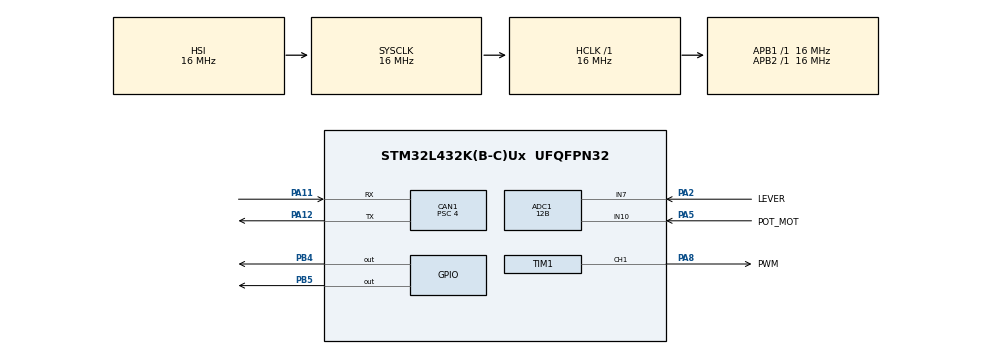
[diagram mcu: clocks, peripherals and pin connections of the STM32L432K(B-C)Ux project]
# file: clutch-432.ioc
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ADC1.Channel-0\#ChannelRegularConversion=ADC_CHANNEL_7
ADC1.Channel-1\#ChannelRegularConversion=ADC_CHANNEL_10
ADC1.ClockPrescaler=ADC_CLOCK_ASYNC_DIV16
ADC1.ContinuousConvMode=ENABLE
ADC1.DMAContinuousRequests=ENABLE
ADC1.DiscontinuousConvMode=DISABLE
ADC1.NbrOfConversion=2
ADC1.NbrOfConversionFlag=1
ADC1.OffsetNumber-0\#ChannelRegularConversion=ADC_OFFSET_NONE
ADC1.OffsetNumber-1\#ChannelRegularConversion=ADC_OFFSET_NONE
ADC1.Rank-0\#ChannelRegularConversion=1
ADC1.Rank-1\#ChannelRegularConversion=2
ADC1.Resolution=ADC_RESOLUTION_12B
ADC1.SamplingTime-0\#ChannelRegularConversion=ADC_SAMPLETIME_92CYCLES_5
ADC1.SamplingTime-1\#ChannelRegularConversion=ADC_SAMPLETIME_92CYCLES_5
ADC1.master=1
CAN1.BS1=CAN_BS1_2TQ
CAN1.CalculateBaudRate=1000000
CAN1.CalculateTimeBit=1000
CAN1.CalculateTimeQuantum=250.0
CAN1.Prescaler=4
Dma.ADC1.0.Direction=DMA_PERIPH_TO_MEMORY
Dma.ADC1.0.Instance=DMA1_Channel1
Dma.ADC1.0.MemDataAlignment=DMA_MDATAALIGN_HALFWORD
Dma.ADC1.0.MemInc=DMA_MINC_ENABLE
Dma.ADC1.0.Mode=DMA_CIRCULAR
Dma.ADC1.0.PeriphDataAlignment=DMA_PDATAALIGN_HALFWORD
Dma.ADC1.0.PeriphInc=DMA_PINC_DISABLE
Dma.ADC1.0.Priority=DMA_PRIORITY_LOW
Dma.Request0=ADC1
Mcu.Family=STM32L4
Mcu.Name=STM32L432K(B-C)Ux
Mcu.Package=UFQFPN32
NVIC.DMA1_Channel1_IRQn=true\:0\:0\:false\:false\:true\:false\:true\:true
NVIC.PriorityGroup=NVIC_PRIORITYGROUP_4
NVIC.TIM1_BRK_TIM15_IRQn=true\:0\:0\:false\:false\:true\:true\:true\:true
NVIC.TIM1_UP_TIM16_IRQn=true\:0\:0\:false\:false\:true\:true\:true\:true
NVIC.TIM7_IRQn=true\:0\:0\:false\:false\:true\:true\:true\:true
PA0.Mode=HSE-External-Clock-Source-for-LittleOrca
PA0.Signal=RCC_CK_IN
PA11.Mode=CAN_Activate
PA11.Signal=CAN1_RX
PA12.Mode=CAN_Activate
PA12.Signal=CAN1_TX
PA2.GPIO_Label=LEVER
PA2.Signal=ADCx_IN7
PA5.GPIO_Label=POT_MOT
PA5.Signal=ADCx_IN10
PA8.GPIO_Label=PWM
PA8.Signal=S_TIM1_CH1
PB4\ (NJTRST).Signal=GPIO_Output
PB5.Signal=GPIO_Output
ProjectManager.HeapSize=0x200
ProjectManager.StackSize=0x400
ProjectManager.TargetToolchain=STM32CubeIDE
RCC.ADCFreq_Value=32000000
RCC.AHBFreq_Value=16000000
RCC.APB1Freq_Value=16000000
RCC.APB1TimFreq_Value=16000000
RCC.APB2Freq_Value=16000000
RCC.APB2TimFreq_Value=16000000
RCC.CortexFreq_Value=16000000
RCC.HCLKFreq_Value=16000000
RCC.HSE_VALUE=8000000
RCC.HSI48_VALUE=48000000
RCC.HSI_VALUE=16000000
RCC.LSE_VALUE=32768
RCC.MSI_VALUE=4000000
RCC.PLLSAI1N=16
RCC.PLLSAI1R=RCC_PLLR_DIV8
RCC.PLLSourceVirtual=RCC_PLLSOURCE_HSI
RCC.SYSCLKFreq_VALUE=16000000
RCC.SYSCLKSource=RCC_SYSCLKSOURCE_HSI
RCC.USBFreq_Value=128000000
RCC.VCOOutputFreq_Value=128000000
SH.ADCx_IN10.0=ADC1_IN10,IN10-Single-Ended
SH.ADCx_IN7.0=ADC1_IN7,IN7-Single-Ended
SH.S_TIM1_CH1.0=TIM1_CH1,PWM Generation1 CH1
TIM1.Channel-PWM\ Generation1\ CH1=TIM_CHANNEL_1
TIM1.Period=100-1
TIM1.Prescaler=20-1
TIM1.Pulse-PWM\ Generation1\ CH1=50
TIM7.Period=10 - 1
TIM7.Prescaler=100 - 1
VP_TIM1_VS_ClockSourceINT.Mode=Internal
VP_TIM7_VS_ClockSourceINT.Mode=Enable_Timer
board=custom

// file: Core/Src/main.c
/* USER CODE BEGIN Header */
/**
  ******************************************************************************
  * @file           : main.c
  * @brief          : Main program body
  ******************************************************************************
  * @attention
  *
  * Copyright (c) 2022 STMicroelectronics.
  * All rights reserved.
  *
  * This software is licensed under terms that can be found in the LICENSE file
  * in the root directory of this software component.
  * If no LICENSE file comes with this software, it is provided AS-IS.
  *
  ******************************************************************************
  */
/* USER CODE END Header */
#include "main.h"

/* USER CODE BEGIN Includes */
#include <stdbool.h>
#include "mmr_can.h"
/* USER CODE END Includes */

/* USER CODE BEGIN PD */
#define POT 1
#define LEVER 0
#define CURRENT 2
/* USER CODE END PD */

 ADC_HandleTypeDef hadc1;
DMA_HandleTypeDef hdma_adc1;

CAN_HandleTypeDef hcan1;

TIM_HandleTypeDef htim1;
TIM_HandleTypeDef htim7;

void SystemClock_Config(void);
static void MX_GPIO_Init(void);
static void MX_DMA_Init(void);
static void MX_ADC1_Init(void);
static void MX_TIM1_Init(void);
static void MX_TIM7_Init(void);
static void MX_CAN1_Init(void);

/* USER CODE BEGIN 0 */
float lever;
float potMot;
float errorPos;
int delay;
int tick;

bool engage = false;
DrivingMode mode = MANUAL;
ErrorState state = OK;
//PID POSIZIONE
const PIDSaturation saturations1 = {
		min: -0.8f,
		max: 0.8f,
};

const PIDParameters parameters1 = {
	p: 7.53f * 3.0f * 3.0f,
	i: 8.6f * 3.0f * 6.0f,
	d: 1.4f * 1.5f,
};

PID pid1;

const float sampleTime = 1.0f / 80000.0f;
const float tau = 1.0f/14565.0f;

//CLUTCH
const ClutchIndexes indexes = {
	motorPotentiometer: POT,
	lever: LEVER,
	current: CURRENT,
};

Clutch clutch;
int s;
// ADC arrays
AdcValue ADC_values[BUFFER_LENGTH];
/* USER CODE END 0 */

int main(void)
{
  /* USER CODE BEGIN 1 */
	lever = 0;
	potMot = 0;
	errorPos = 0;
	tick = 0;
  /* USER CODE END 1 */

  /* MCU Configuration--------------------------------------------------------*/

  /* Reset of all peripherals, Initializes the Flash interface and the Systick. */
  HAL_Init();

  /* Configure the system clock */
  SystemClock_Config();

  /* Initialize all configured peripherals */
  MX_GPIO_Init();
  MX_DMA_Init();
  MX_ADC1_Init();
  MX_TIM1_Init();
  MX_TIM7_Init();
  MX_CAN1_Init();
  /* USER CODE BEGIN 2 */

  if (MMR_CAN_BasicSetupAndStart(&hcan1) != HAL_OK) {
    Error_Handler();
  }

  pid1 = PIDInit(
	  saturations1,
	  parameters1,
	  sampleTime,
	  tau
  );

  ClutchPID clutchPID = {
	  pid1: &pid1,
  };

  clutch = clutchInit(indexes, clutchPID, ADC_values);
  setDrivingMode(&clutch, mode);

  HAL_ADC_Start_DMA(&hadc1, (uint16_t *)ADC_values, BUFFER_LENGTH);

  HAL_TIM_Base_Start(&htim1); // TIM1 Start
  HAL_TIM_PWM_Start(&htim1, TIM_CHANNEL_1); // PWM Start on TIM1
  HAL_TIM_Base_Start_IT(&htim7); // PID Sampling timer start

  CanRxBuffer buffer = {};
  MmrCanMessage message = {
		  .store = buffer
  };
  uint32_t start = uwTick;

  //HAL_GPIO_WritePin(GPIOB, GPIO_PIN_1, GPIO_PIN_SET);
  /* USER CODE END 2 */

  /* Infinite loop */
  /* USER CODE BEGIN WHILE */
  while (1)
  {
	  /*uint8_t pendingMessages = HAL_CAN_GetRxFifoFillLevel(&hcan1, MMR_CAN_RX_FIFO);

	  if (pendingMessages <= 0) {
		  continue;
	  }

	  if (MMR_CAN_Receive(&hcan1, &message) != HAL_OK) {
		  ;
	  }

	  volatile int id = message.header.messageId;

	  continue;*/
    /* USER CODE END WHILE */

    /* USER CODE BEGIN 3 */

	  MmrCanPacket packetOpenClutch = {
			  .header.messageId = MMR_CAN_MESSAGE_ID_CS_CLUTCH_PULL_OK,
	  };

	  MmrCanPacket packetEngagedClutch = {
			  .header.messageId = MMR_CAN_MESSAGE_ID_CS_CLUTCH_RELEASE_OK,
	  };

	  MmrCanPacket packetErrorState = {
	  		  .header.messageId = MMR_CAN_MESSAGE_ID_CS_CLUTCH_POTENTIOMETER_OUT_OF_RANGE,
	  };

	  // ALL MODES

	  if(uwTick - start >= 100) {
		  start = uwTick;
		  if(clutch.state == POTENTIOMETER_OUT_OF_RANGE) {
			  MMR_CAN_Send(&hcan1, packetErrorState);
		  }
	  }

	  //AUTONOMOUS

	  if(clutch.measuredAngle < OPEN_CLUTCH_ANGLE + 0.1f && clutch.inProgress && !engage && uwTick - start >= 100) {
		  start = uwTick;
		  if(clutch.mode == AUTONOMOUS) {
			  MMR_CAN_Send(&hcan1, packetOpenClutch);
			  clutch.inProgress = false;
		  }
	  }

	  if(clutch.measuredAngle > ENGAGED_CLUTCH_ANGLE - 0.25f && clutch.inProgress && engage && uwTick - start >= 100) {
		  start = uwTick;
		  if(clutch.mode == AUTONOMOUS) {
			  MMR_CAN_Send(&hcan1, packetEngagedClutch);
			  clutch.inProgress = false;
		  }
	  }

	  //MANUAL

	  if(clutch.measuredAngle < OPEN_CLUTCH_ANGLE + 0.1f && uwTick - start >= 100) {
		  start = uwTick;
		  if(clutch.mode == MANUAL) {
			  MMR_CAN_Send(&hcan1, packetOpenClutch);
		  }
	  }

	  if(clutch.measuredAngle > ENGAGED_CLUTCH_ANGLE - 0.25f && uwTick - start >= 100) {
		  start = uwTick;
		  if(clutch.mode == MANUAL) {
			  MMR_CAN_Send(&hcan1, packetEngagedClutch);
		  }
	  }

	  uint32_t messages = HAL_CAN_GetRxFifoFillLevel(&hcan1, MMR_CAN_RX_FIFO);

	  if(messages > 0) {
		  if(MMR_CAN_Receive(&hcan1, &message) != HAL_OK) {
			  //Error_Handler();
		  }

		  switch(message.header.messageId) {
		  	  case MMR_CAN_MESSAGE_ID_CS_CLUTCH_PULL:
				  setDrivingMode(&clutch, AUTONOMOUS);
				  engage = false;
				  clutch.inProgress = true;
		  		  break;

		  	  case MMR_CAN_MESSAGE_ID_CS_CLUTCH_RELEASE:
				  setDrivingMode(&clutch, AUTONOMOUS);
				  engage = true;
				  clutch.inProgress = true;
		  		  break;

		  	  case MMR_CAN_MESSAGE_ID_CS_CLUTCH_SET_MANUAL:
				  setDrivingMode(&clutch, MANUAL);
				  clutch.inProgress = false;
		  		  break;
		  }

	  }

	  potMot = clutch.measuredAngle;
	  lever = clutch.targetAngle;
  }
  /* USER CODE END 3 */
}

void SystemClock_Config(void)
{
  RCC_OscInitTypeDef RCC_OscInitStruct = {0};
  RCC_ClkInitTypeDef RCC_ClkInitStruct = {0};

  /** Configure the main internal regulator output voltage
  */
  if (HAL_PWREx_ControlVoltageScaling(PWR_REGULATOR_VOLTAGE_SCALE1) != HAL_OK)
  {
    Error_Handler();
  }

  /** Initializes the RCC Oscillators according to the specified parameters
  * in the RCC_OscInitTypeDef structure.
  */
  RCC_OscInitStruct.OscillatorType = RCC_OSCILLATORTYPE_HSI;
  RCC_OscInitStruct.HSIState = RCC_HSI_ON;
  RCC_OscInitStruct.HSICalibrationValue = RCC_HSICALIBRATION_DEFAULT;
  RCC_OscInitStruct.PLL.PLLState = RCC_PLL_NONE;
  if (HAL_RCC_OscConfig(&RCC_OscInitStruct) != HAL_OK)
  {
    Error_Handler();
  }

  /** Initializes the CPU, AHB and APB buses clocks
  */
  RCC_ClkInitStruct.ClockType = RCC_CLOCKTYPE_HCLK|RCC_CLOCKTYPE_SYSCLK
                              |RCC_CLOCKTYPE_PCLK1|RCC_CLOCKTYPE_PCLK2;
  RCC_ClkInitStruct.SYSCLKSource = RCC_SYSCLKSOURCE_HSI;
  RCC_ClkInitStruct.AHBCLKDivider = RCC_SYSCLK_DIV1;
  RCC_ClkInitStruct.APB1CLKDivider = RCC_HCLK_DIV1;
  RCC_ClkInitStruct.APB2CLKDivider = RCC_HCLK_DIV1;

  if (HAL_RCC_ClockConfig(&RCC_ClkInitStruct, FLASH_LATENCY_0) != HAL_OK)
  {
    Error_Handler();
  }
}

static void MX_ADC1_Init(void)
{

  ADC_ChannelConfTypeDef sConfig = {0};

  /** Common config
  */
  hadc1.Instance = ADC1;
  hadc1.Init.ClockPrescaler = ADC_CLOCK_ASYNC_DIV16;
  hadc1.Init.Resolution = ADC_RESOLUTION_12B;
  hadc1.Init.DataAlign = ADC_DATAALIGN_RIGHT;
  hadc1.Init.ScanConvMode = ADC_SCAN_ENABLE;
  hadc1.Init.EOCSelection = ADC_EOC_SINGLE_CONV;
  hadc1.Init.LowPowerAutoWait = DISABLE;
  hadc1.Init.ContinuousConvMode = ENABLE;
  hadc1.Init.NbrOfConversion = 2;
  hadc1.Init.DiscontinuousConvMode = DISABLE;
  hadc1.Init.ExternalTrigConv = ADC_SOFTWARE_START;
  hadc1.Init.ExternalTrigConvEdge = ADC_EXTERNALTRIGCONVEDGE_NONE;
  hadc1.Init.DMAContinuousRequests = ENABLE;
  hadc1.Init.Overrun = ADC_OVR_DATA_PRESERVED;
  hadc1.Init.OversamplingMode = DISABLE;
  if (HAL_ADC_Init(&hadc1) != HAL_OK)
  {
    Error_Handler();
  }

  /** Configure Regular Channel
  */
  sConfig.Channel = ADC_CHANNEL_7;
  sConfig.Rank = ADC_REGULAR_RANK_1;
  sConfig.SamplingTime = ADC_SAMPLETIME_92CYCLES_5;
  sConfig.SingleDiff = ADC_SINGLE_ENDED;
  sConfig.OffsetNumber = ADC_OFFSET_NONE;
  sConfig.Offset = 0;
  if (HAL_ADC_ConfigChannel(&hadc1, &sConfig) != HAL_OK)
  {
    Error_Handler();
  }

  /** Configure Regular Channel
  */
  sConfig.Channel = ADC_CHANNEL_10;
  sConfig.Rank = ADC_REGULAR_RANK_2;
  if (HAL_ADC_ConfigChannel(&hadc1, &sConfig) != HAL_OK)
  {
    Error_Handler();
  }

}

static void MX_CAN1_Init(void)
{

  hcan1.Instance = CAN1;
  hcan1.Init.Prescaler = 4;
  hcan1.Init.Mode = CAN_MODE_NORMAL;
  hcan1.Init.SyncJumpWidth = CAN_SJW_1TQ;
  hcan1.Init.TimeSeg1 = CAN_BS1_2TQ;
  hcan1.Init.TimeSeg2 = CAN_BS2_1TQ;
  hcan1.Init.TimeTriggeredMode = DISABLE;
  hcan1.Init.AutoBusOff = DISABLE;
  hcan1.Init.AutoWakeUp = DISABLE;
  hcan1.Init.AutoRetransmission = DISABLE;
  hcan1.Init.ReceiveFifoLocked = DISABLE;
  hcan1.Init.TransmitFifoPriority = DISABLE;
  if (HAL_CAN_Init(&hcan1) != HAL_OK)
  {
    Error_Handler();
  }

}

static void MX_TIM1_Init(void)
{

  TIM_ClockConfigTypeDef sClockSourceConfig = {0};
  TIM_MasterConfigTypeDef sMasterConfig = {0};
  TIM_OC_InitTypeDef sConfigOC = {0};
  TIM_BreakDeadTimeConfigTypeDef sBreakDeadTimeConfig = {0};

  htim1.Instance = TIM1;
  htim1.Init.Prescaler = 20-1;
  htim1.Init.CounterMode = TIM_COUNTERMODE_UP;
  htim1.Init.Period = 100-1;
  htim1.Init.ClockDivision = TIM_CLOCKDIVISION_DIV1;
  htim1.Init.RepetitionCounter = 0;
  htim1.Init.AutoReloadPreload = TIM_AUTORELOAD_PRELOAD_DISABLE;
  if (HAL_TIM_Base_Init(&htim1) != HAL_OK)
  {
    Error_Handler();
  }
  sClockSourceConfig.ClockSource = TIM_CLOCKSOURCE_INTERNAL;
  if (HAL_TIM_ConfigClockSource(&htim1, &sClockSourceConfig) != HAL_OK)
  {
    Error_Handler();
  }
  if (HAL_TIM_PWM_Init(&htim1) != HAL_OK)
  {
    Error_Handler();
  }
  sMasterConfig.MasterOutputTrigger = TIM_TRGO_RESET;
  sMasterConfig.MasterOutputTrigger2 = TIM_TRGO2_RESET;
  sMasterConfig.MasterSlaveMode = TIM_MASTERSLAVEMODE_DISABLE;
  if (HAL_TIMEx_MasterConfigSynchronization(&htim1, &sMasterConfig) != HAL_OK)
  {
    Error_Handler();
  }
  sConfigOC.OCMode = TIM_OCMODE_PWM1;
  sConfigOC.Pulse = 50;
  sConfigOC.OCPolarity = TIM_OCPOLARITY_HIGH;
  sConfigOC.OCNPolarity = TIM_OCNPOLARITY_HIGH;
  sConfigOC.OCFastMode = TIM_OCFAST_DISABLE;
  sConfigOC.OCIdleState = TIM_OCIDLESTATE_RESET;
  sConfigOC.OCNIdleState = TIM_OCNIDLESTATE_RESET;
  if (HAL_TIM_PWM_ConfigChannel(&htim1, &sConfigOC, TIM_CHANNEL_1) != HAL_OK)
  {
    Error_Handler();
  }
  sBreakDeadTimeConfig.OffStateRunMode = TIM_OSSR_DISABLE;
  sBreakDeadTimeConfig.OffStateIDLEMode = TIM_OSSI_DISABLE;
  sBreakDeadTimeConfig.LockLevel = TIM_LOCKLEVEL_OFF;
  sBreakDeadTimeConfig.DeadTime = 0;
  sBreakDeadTimeConfig.BreakState = TIM_BREAK_DISABLE;
  sBreakDeadTimeConfig.BreakPolarity = TIM_BREAKPOLARITY_HIGH;
  sBreakDeadTimeConfig.BreakFilter = 0;
  sBreakDeadTimeConfig.Break2State = TIM_BREAK2_DISABLE;
  sBreakDeadTimeConfig.Break2Polarity = TIM_BREAK2POLARITY_HIGH;
  sBreakDeadTimeConfig.Break2Filter = 0;
  sBreakDeadTimeConfig.AutomaticOutput = TIM_AUTOMATICOUTPUT_DISABLE;
  if (HAL_TIMEx_ConfigBreakDeadTime(&htim1, &sBreakDeadTimeConfig) != HAL_OK)
  {
    Error_Handler();
  }
  HAL_TIM_MspPostInit(&htim1);

}

static void MX_TIM7_Init(void)
{

  TIM_MasterConfigTypeDef sMasterConfig = {0};

  htim7.Instance = TIM7;
  htim7.Init.Prescaler = 100 - 1;
  htim7.Init.CounterMode = TIM_COUNTERMODE_UP;
  htim7.Init.Period = 10 - 1;
  htim7.Init.AutoReloadPreload = TIM_AUTORELOAD_PRELOAD_DISABLE;
  if (HAL_TIM_Base_Init(&htim7) != HAL_OK)
  {
    Error_Handler();
  }
  sMasterConfig.MasterOutputTrigger = TIM_TRGO_RESET;
  sMasterConfig.MasterSlaveMode = TIM_MASTERSLAVEMODE_DISABLE;
  if (HAL_TIMEx_MasterConfigSynchronization(&htim7, &sMasterConfig) != HAL_OK)
  {
    Error_Handler();
  }

}

static void MX_DMA_Init(void)
{

  /* DMA controller clock enable */
  __HAL_RCC_DMA1_CLK_ENABLE();

  /* DMA interrupt init */
  /* DMA1_Channel1_IRQn interrupt configuration */
  HAL_NVIC_SetPriority(DMA1_Channel1_IRQn, 0, 0);
  HAL_NVIC_EnableIRQ(DMA1_Channel1_IRQn);

}

static void MX_GPIO_Init(void)
{
  GPIO_InitTypeDef GPIO_InitStruct = {0};

  /* GPIO Ports Clock Enable */
  __HAL_RCC_GPIOA_CLK_ENABLE();
  __HAL_RCC_GPIOB_CLK_ENABLE();

  /*Configure GPIO pin Output Level */
  HAL_GPIO_WritePin(GPIOB, GPIO_PIN_4|GPIO_PIN_5, GPIO_PIN_RESET);

  /*Configure GPIO pins : PB4 PB5 */
  GPIO_InitStruct.Pin = GPIO_PIN_4|GPIO_PIN_5;
  GPIO_InitStruct.Mode = GPIO_MODE_OUTPUT_PP;
  GPIO_InitStruct.Pull = GPIO_NOPULL;
  GPIO_InitStruct.Speed = GPIO_SPEED_FREQ_LOW;
  HAL_GPIO_Init(GPIOB, &GPIO_InitStruct);

}

void Error_Handler(void)
{
  __disable_irq();
  while (1)
  {
  }
}
